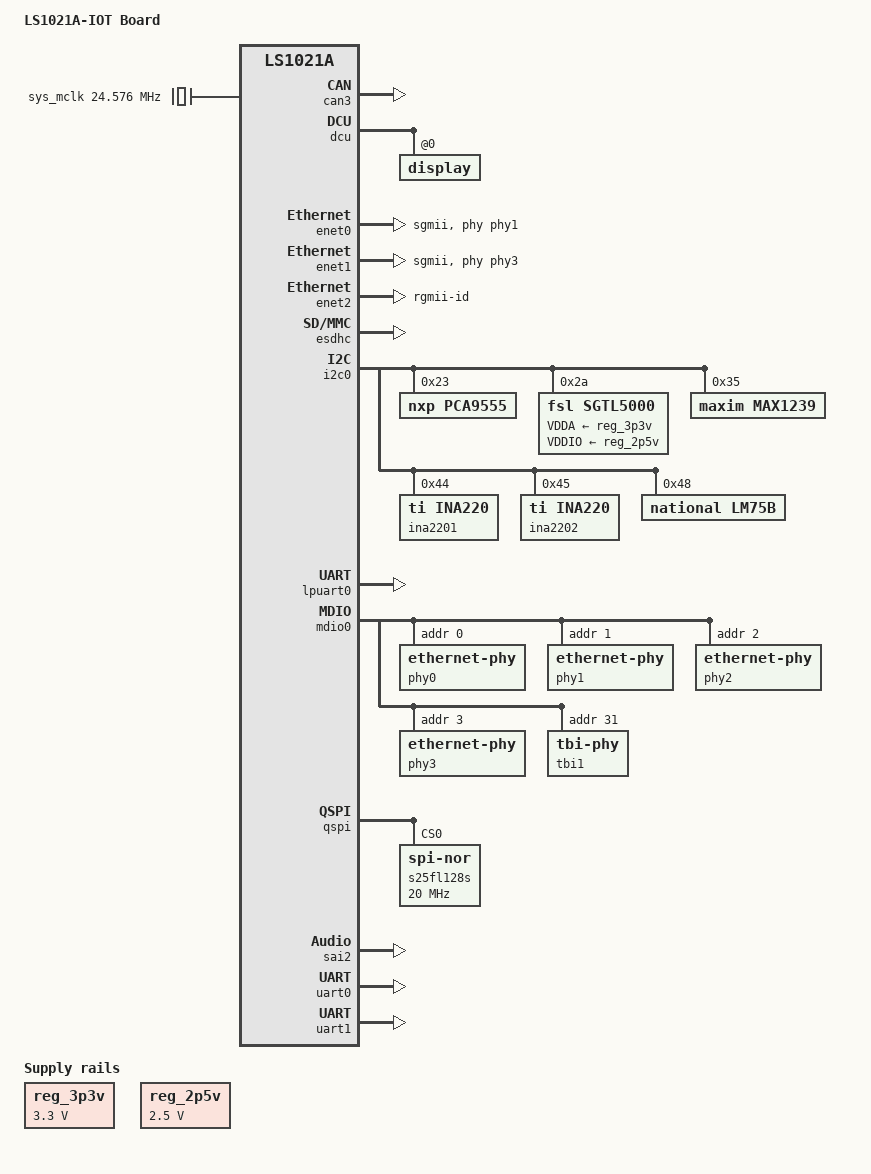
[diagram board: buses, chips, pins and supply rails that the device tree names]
// SPDX-License-Identifier: GPL-2.0
/*
 * Copyright 2021-2022 NXP
 *
 */

/dts-v1/;
#include "ls1021a.dtsi"

/ {
	model = "LS1021A-IOT Board";
	compatible = "fsl,ls1021a-iot", "fsl,ls1021a";

	sys_mclk: clock-mclk {
		compatible = "fixed-clock";
		#clock-cells = <0>;
		clock-frequency = <24576000>;
	};

	reg_3p3v: regulator-3V3 {
		compatible = "regulator-fixed";
		regulator-name = "3P3V";
		regulator-min-microvolt = <3300000>;
		regulator-max-microvolt = <3300000>;
		regulator-always-on;
	};

	reg_2p5v: regulator-2V5 {
		compatible = "regulator-fixed";
		regulator-name = "2P5V";
		regulator-min-microvolt = <2500000>;
		regulator-max-microvolt = <2500000>;
		regulator-always-on;
	};

	sound {
		compatible = "simple-audio-card";
		simple-audio-card,format = "i2s";
		simple-audio-card,widgets =
			"Microphone", "Microphone Jack",
			"Headphone", "Headphone Jack",
			"Speaker", "Speaker Ext",
			"Line", "Line In Jack";
		simple-audio-card,routing =
			"MIC_IN", "Microphone Jack",
			"Microphone Jack", "Mic Bias",
			"LINE_IN", "Line In Jack",
			"Headphone Jack", "HP_OUT",
			"Speaker Ext", "LINE_OUT";

		simple-audio-card,cpu {
			sound-dai = <&sai2>;
			frame-master;
			bitclock-master;
		};

		simple-audio-card,codec {
			sound-dai = <&sgtl5000>;
			frame-master;
			bitclock-master;
		};
	};
};

&can0{
	status = "disabled";
};

&can1{
	status = "disabled";
};

&can2{
	status = "disabled";
};

&can3{
	status = "okay";
};

&dcu {
	display = <&display>;
	status = "okay";

	display: display@0 {
		bits-per-pixel = <24>;

		display-timings {
			native-mode = <&timing0>;

			timing0: mode0 {
				clock-frequency = <25000000>;
				hactive = <640>;
				vactive = <480>;
				hback-porch = <80>;
				hfront-porch = <80>;
				vback-porch = <16>;
				vfront-porch = <16>;
				hsync-len = <12>;
				vsync-len = <2>;
				hsync-active = <1>;
				vsync-active = <1>;
			};
		};
	};
};

&enet0 {
	tbi-handle = <&tbi1>;
	phy-handle = <&phy1>;
	phy-connection-type = "sgmii";
	status = "okay";
};

&enet1 {
	tbi-handle = <&tbi1>;
	phy-handle = <&phy3>;
	phy-connection-type = "sgmii";
	status = "okay";
};

&enet2 {
	fixed-link = <0 1 1000 0 0>;
	phy-connection-type = "rgmii-id";
	status = "okay";
};

&esdhc{
	status = "okay";
};

&i2c0 {
	status = "okay";

	pca9555: gpio@23 {
		compatible = "nxp,pca9555";
		reg = <0x23>;
		gpio-controller;
		#gpio-cells = <2>;
		interrupt-controller;
		#interrupt-cells = <2>;
	};

	sgtl5000: audio-codec@2a {
		#sound-dai-cells = <0x0>;
		compatible = "fsl,sgtl5000";
		reg = <0x2a>;
		VDDA-supply = <&reg_3p3v>;
		VDDIO-supply = <&reg_2p5v>;
		clocks = <&sys_mclk>;
	};

	max1239: adc@35 {
		compatible = "maxim,max1239";
		reg = <0x35>;
		#io-channel-cells = <1>;
	};

	ina2201: core-monitor@44 {
		compatible = "ti,ina220";
		reg = <0x44>;
		shunt-resistor = <1000>;
	};

	ina2202: current-monitor@45 {
		compatible = "ti,ina220";
		reg = <0x45>;
		shunt-resistor = <1000>;
	};

	lm75b: thermal-monitor@48 {
		compatible = "national,lm75b";
		reg = <0x48>;
	};
};

&lpuart0 {
	status = "okay";
};

&mdio0 {
	phy0: ethernet-phy@0 {
		reg = <0x0>;
	};

	phy1: ethernet-phy@1 {
		reg = <0x1>;
	};

	phy2: ethernet-phy@2 {
		reg = <0x2>;
	};

	phy3: ethernet-phy@3 {
		reg = <0x3>;
	};

	tbi1: tbi-phy@1f {
		reg = <0x1f>;
		device_type = "tbi-phy";
	};
};

&qspi {
	num-cs = <2>;
	status = "okay";

	s25fl128s: flash@0 {
		compatible = "jedec,spi-nor";
		#address-cells = <1>;
		#size-cells = <1>;
		spi-max-frequency = <20000000>;
		reg = <0>;
	};
};

&sai2 {
	status = "okay";
};

&uart0 {
	status = "okay";
};

&uart1 {
	status = "okay";
};
